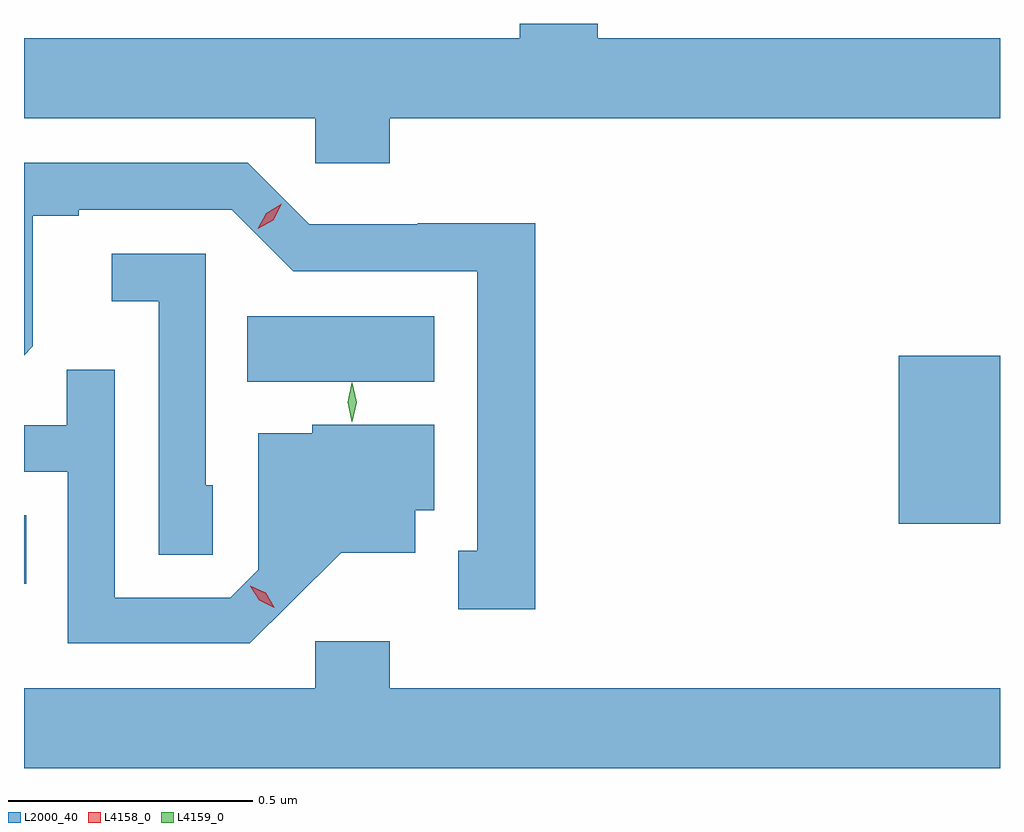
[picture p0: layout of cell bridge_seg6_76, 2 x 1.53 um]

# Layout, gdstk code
import gdstk
lib = gdstk.Library(unit=1e-6, precision=1e-09)
def R(c, l, rs):  # rectangles x0, y0, x1, y1
    for r in rs: c.add(gdstk.rectangle(r[:2], r[2:], *l))
def P(c, l, *ps):  # polygons
    for p in ps: c.add(gdstk.Polygon(p, *l))
L2000_40 = (2000, 40)
L4158_0 = (4158, 0)
L4159_0 = (4159, 0)

bridge_seg6_76 = lib.new_cell('bridge_seg6_76')
R(bridge_seg6_76, L2000_40, [(633.303,935.726,633.308,935.866), (635.096,935.849,635.303,936.193), (633.76,936.14,634.144,936.274)])
P(bridge_seg6_76, L2000_40, [(634.052,936.68),(635.303,936.68),(635.303,936.844),(634.479,936.844),(634.479,936.873),(634.319,936.873),(634.319,936.844),(633.303,936.844),(633.303,936.68),(633.9,936.68),(633.9,936.587),(634.052,936.587)],
  [(634.351,936.464),(634.11,936.464),(634.11,936.462),(633.888,936.462),(633.762,936.588),(633.303,936.588),(633.303,936.194),(633.321,936.212),(633.321,936.48),(633.415,936.48),(633.415,936.492),(633.729,936.492),(633.855,936.366),(634.232,936.366),(634.232,935.793),(634.193,935.793),(634.193,935.673),(634.351,935.673)],
  [(633.69,935.928),(633.675,935.928),(633.675,936.402),(633.483,936.402),(633.483,936.305),(633.579,936.305),(633.579,935.785),(633.69,935.785)],
  [(633.85,935.687),(633.953,935.789),(634.105,935.789),(634.105,935.876),(634.144,935.876),(634.144,936.052),(633.894,936.052),(633.894,936.034),(633.783,936.034),(633.783,935.754),(633.726,935.697),(633.489,935.697),(633.489,936.164),(633.391,936.164),(633.391,936.051),(633.303,936.051),(633.303,935.955),(633.393,935.955),(633.393,935.604),(633.766,935.604)],
  [(635.303,935.512),(634.052,935.512),(634.052,935.608),(633.9,935.608),(633.9,935.512),(633.303,935.512),(633.303,935.348),(635.303,935.348)])
P(bridge_seg6_76, L4158_0, [(633.782,936.453),(633.782,936.453),(633.799,936.485),(633.831,936.504),(633.831,936.504),(633.831,936.504),(633.814,936.471),(633.782,936.453)],
  [(633.816,935.677),(633.785,935.692),(633.767,935.721),(633.767,935.722),(633.767,935.722),(633.798,935.707),(633.816,935.678),(633.816,935.677)])
P(bridge_seg6_76, L4159_0, [(633.975,936.058),(633.966,936.098),(633.975,936.138),(633.975,936.138),(633.976,936.138),(633.985,936.098),(633.976,936.058),(633.976,936.058)])

lib.write_gds('bridge_seg6_76.gds')
